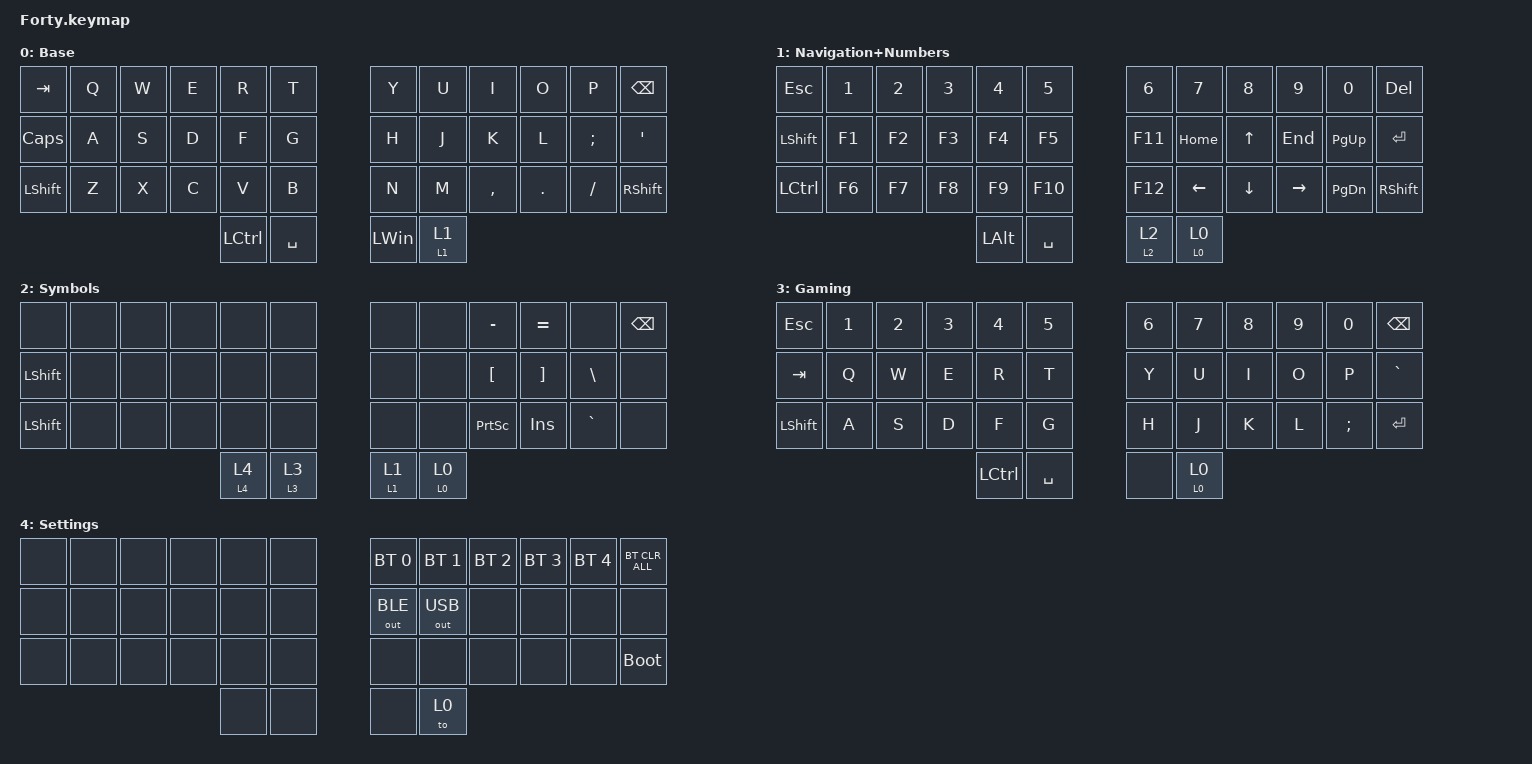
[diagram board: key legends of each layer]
#include <behaviors.dtsi>
#include <dt-bindings/zmk/bt.h>
#include <dt-bindings/zmk/keys.h>
#include <dt-bindings/zmk/outputs.h>

/ {
    combos {
        compatible = "zmk,combos";

        combo_screenshot {
            bindings = <&kp PRINTSCREEN>;
            key-positions = <32 33>;
            layers = <2>;
        };

        combo_mute_insert {
            bindings = <&kp INSERT>;
            key-positions = <34 32>;
            layers = <2>;
        };

        combo_alt_tab {
            bindings = <&alt_tab>;
            key-positions = <36 0>;
            layers = <0>;
        };
    };

    macros {
        alt_tab: Alt_Tab {
            compatible = "zmk,behavior-macro";
            #binding-cells = <0>;
            bindings = <&kp LEFT_ALT &kp TAB>;
            label = "ALT_TAB";
        };
    };

    behaviors {
        layer_tapto_stickyhold: layer_tapto_stickyhold {
            compatible = "zmk,behavior-hold-tap";
            label = "LAYER_TAPTO_STICKYHOLD";
            bindings = <&sl>, <&to>;

            #binding-cells = <2>;
            tapping-term-ms = <200>;
            retro-tap;
        };
    };

    keymap {
        compatible = "zmk,keymap";

        Base {
            bindings = <
&kp TAB    &kp Q  &kp W  &kp E  &kp R      &kp T      &kp Y         &kp U                        &kp I      &kp O    &kp P     &kp BSPC
&kp CAPS   &kp A  &kp S  &kp D  &kp F      &kp G      &kp H         &kp J                        &kp K      &kp L    &kp SEMI  &kp SQT
&kp LSHFT  &kp Z  &kp X  &kp C  &kp V      &kp B      &kp N         &kp M                        &kp COMMA  &kp DOT  &kp FSLH  &kp RSHFT
                                &kp LCTRL  &kp SPACE  &kp LEFT_WIN  &layer_tapto_stickyhold 1 1
            >;
        };

        Navigation+Numbers {
            bindings = <
&kp ESC    &kp N1  &kp N2  &kp N3  &kp N4    &kp N5     &kp N6                       &kp N7                       &kp N8    &kp N9     &kp N0     &kp DEL
&kp LSHFT  &kp F1  &kp F2  &kp F3  &kp F4    &kp F5     &kp F11                      &kp HOME                     &kp UP    &kp END    &kp PG_UP  &kp ENTER
&kp LCTRL  &kp F6  &kp F7  &kp F8  &kp F9    &kp F10    &kp F12                      &kp LEFT                     &kp DOWN  &kp RIGHT  &kp PG_DN  &kp RSHFT
                                   &kp LALT  &kp SPACE  &layer_tapto_stickyhold 2 2  &layer_tapto_stickyhold 0 0
            >;
        };

        Symbols {
            bindings = <
&none           &none  &none  &none  &none                        &none                        &none                        &none                        &kp MINUS        &kp EQUAL  &none          &kp BACKSPACE
&kp LEFT_SHIFT  &none  &none  &none  &none                        &none                        &none                        &none                        &kp LBKT         &kp RBKT   &kp BACKSLASH  &none
&kp LEFT_SHIFT  &none  &none  &none  &none                        &none                        &none                        &none                        &kp PRINTSCREEN  &kp INS    &kp GRAVE      &none
                                     &layer_tapto_stickyhold 4 4  &layer_tapto_stickyhold 3 3  &layer_tapto_stickyhold 1 1  &layer_tapto_stickyhold 0 0
            >;
        };

        Gaming {
            bindings = <
&kp ESC    &kp N1  &kp N2  &kp N3  &kp N4     &kp N5     &kp N6  &kp N7                       &kp N8  &kp N9  &kp N0    &kp BSPC
&kp TAB    &kp Q   &kp W   &kp E   &kp R      &kp T      &kp Y   &kp U                        &kp I   &kp O   &kp P     &kp GRAVE
&kp LSHFT  &kp A   &kp S   &kp D   &kp F      &kp G      &kp H   &kp J                        &kp K   &kp L   &kp SEMI  &kp RET
                                   &kp LCTRL  &kp SPACE  &none   &layer_tapto_stickyhold 0 0
            >;
        };

        Settings {
            bindings = <
&none  &none  &none  &none  &none  &none  &bt BT_SEL 0  &bt BT_SEL 1  &bt BT_SEL 2  &bt BT_SEL 3  &bt BT_SEL 4  &bt BT_CLR_ALL
&none  &none  &none  &none  &none  &none  &out OUT_BLE  &out OUT_USB  &none         &none         &none         &none
&none  &none  &none  &none  &none  &none  &none         &none         &none         &none         &none         &bootloader
                            &none  &none  &none         &to 0
            >;
        };
    };
};
